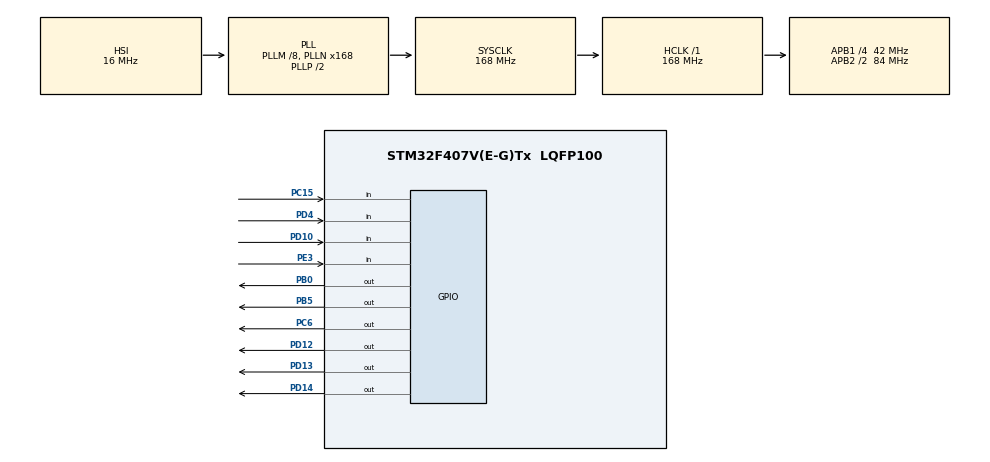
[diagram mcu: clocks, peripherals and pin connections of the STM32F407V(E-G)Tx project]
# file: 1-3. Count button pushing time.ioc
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Mcu.Family=STM32F4
Mcu.Name=STM32F407V(E-G)Tx
Mcu.Package=LQFP100
NVIC.PriorityGroup=NVIC_PRIORITYGROUP_4
NVIC.TIM6_DAC_IRQn=true\:0\:0\:false\:true\:true\:1\:true\:true\:true
PB0.Signal=GPIO_Output
PB5.Signal=GPIO_Output
PC15-OSC32_OUT.Signal=GPIO_Input
PC6.Signal=GPIO_Output
PD10.Signal=GPIO_Input
PD12.Signal=GPIO_Output
PD13.Signal=GPIO_Output
PD14.Signal=GPIO_Output
PD4.Signal=GPIO_Input
PE3.Signal=GPIO_Input
PH0-OSC_IN.Mode=HSE-External-Oscillator
PH0-OSC_IN.Signal=RCC_OSC_IN
PH1-OSC_OUT.Mode=HSE-External-Oscillator
PH1-OSC_OUT.Signal=RCC_OSC_OUT
ProjectManager.HeapSize=0x200
ProjectManager.StackSize=0x400
ProjectManager.TargetToolchain=STM32CubeIDE
RCC.48MHZClocksFreq_Value=84000000
RCC.AHBFreq_Value=168000000
RCC.APB1CLKDivider=RCC_HCLK_DIV4
RCC.APB1Freq_Value=42000000
RCC.APB1TimFreq_Value=84000000
RCC.APB2CLKDivider=RCC_HCLK_DIV2
RCC.APB2Freq_Value=84000000
RCC.APB2TimFreq_Value=168000000
RCC.CortexFreq_Value=168000000
RCC.HCLKFreq_Value=168000000
RCC.HSE_VALUE=8000000
RCC.HSI_VALUE=16000000
RCC.LSE_VALUE=32768
RCC.PLLM=8
RCC.PLLN=168
RCC.SYSCLKFreq_VALUE=168000000
RCC.SYSCLKSource=RCC_SYSCLKSOURCE_PLLCLK
RCC.VCOOutputFreq_Value=336000000
TIM6.Period=839
TIM6.Prescaler=99
VP_TIM6_VS_ClockSourceINT.Mode=Enable_Timer
board=custom

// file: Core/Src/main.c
/* USER CODE BEGIN Header */
/**
  ******************************************************************************
  * @file           : main.c
  * @brief          : Main program body
  ******************************************************************************
  * @attention
  *
  * Copyright (c) 2024 STMicroelectronics.
  * All rights reserved.
  *
  * This software is licensed under terms that can be found in the LICENSE file
  * in the root directory of this software component.
  * If no LICENSE file comes with this software, it is provided AS-IS.
  *
  ******************************************************************************
  */
/* USER CODE END Header */
#include "main.h"
#include "tim.h"
#include "gpio.h"

/* USER CODE BEGIN Includes */
#include "easyMacros.h"
#include "7SEG.h"
/* USER CODE END Includes */

/* USER CODE BEGIN PD */
#define TRUE 1
#define FALSE 0
/* USER CODE END PD */

/* USER CODE BEGIN PV */
int SW1_pressed = FALSE;

int show_point = OFF;
int tim6_reset = FALSE;
static unsigned int tim6_1ms = 0;
static unsigned int tim6_100ms = 0;
/* USER CODE END PV */

void SystemClock_Config(void);
static void MX_NVIC_Init(void);

int main(void)
{

  /* MCU Configuration--------------------------------------------------------*/

  /* Reset of all peripherals, Initializes the Flash interface and the Systick. */
  HAL_Init();

  /* Configure the system clock */
  SystemClock_Config();

  /* Initialize all configured peripherals */
  MX_GPIO_Init();
  MX_TIM6_Init();

  /* Initialize interrupts */
  MX_NVIC_Init();
  /* USER CODE BEGIN 2 */
  L_RED_LED_OFF();
  L_GREEN_LED_OFF();
  L_BLUE_LED_OFF();
  R_RED_LED_OFF();
  R_GREEN_LED_OFF();
  R_BLUE_LED_OFF();

  HAL_TIM_Base_Start_IT(&htim6);
  _7SEG_GPIO_Init();
  /* USER CODE END 2 */

  /* Infinite loop */
  while (1)
  {

    /* USER CODE BEGIN 3 */
	/*
	 * Button을 누르면 왼쪽, 오른쪽 LED가 순서대로 토글되는 코드
	 * 챌린지 1-1이랑 기능과 코드는 동일하므로 설명은 생략하였습니다.
	 */
	if(SW1_pressed != CHECK_SW1_PRESSING())
	{
		SW1_pressed = !SW1_pressed;

		if(SW1_pressed)
		{
			L_RED_LED_TOGGLE();
		}
		else
		{
			R_RED_LED_TOGGLE();
			tim6_reset = TRUE; // 버튼을 땔때, 다음에 시간 측정할 때 처음부터 할 수 있도록 초기화를 예약해놓는다.
		}
	}

	/*
	 * 7_SEG 표시 코드
	 * timer6 카운트 증감은 tim6 인터럽트에서 처리하고,
	 * 여기서는 7seg에 시간을 표시하는 코드만 작성하였습니다.
	 */

	if(tim6_100ms % 10 < 5) show_point = ON; // .0 ~ .4초 사이에는 점을 표시한다.
	else show_point = OFF; // .5 ~ .9초 사이에는 점을 표시하지 않는다.

	_7SEG_SetNumber(DGT1, tim6_100ms / 10, show_point); // 시간 정보와 점 표시 여부를 7SEG로 보낸다.
	_7SEG_SetNumber(DGT2, tim6_100ms % 10, OFF); // 시간 정보와 점 표시 여부를 7SEG로 보낸다.
  }
  /* USER CODE END 3 */
}

void SystemClock_Config(void)
{
  RCC_OscInitTypeDef RCC_OscInitStruct = {0};
  RCC_ClkInitTypeDef RCC_ClkInitStruct = {0};

  /** Configure the main internal regulator output voltage
  */
  __HAL_RCC_PWR_CLK_ENABLE();
  __HAL_PWR_VOLTAGESCALING_CONFIG(PWR_REGULATOR_VOLTAGE_SCALE1);

  /** Initializes the RCC Oscillators according to the specified parameters
  * in the RCC_OscInitTypeDef structure.
  */
  RCC_OscInitStruct.OscillatorType = RCC_OSCILLATORTYPE_HSI;
  RCC_OscInitStruct.HSIState = RCC_HSI_ON;
  RCC_OscInitStruct.HSICalibrationValue = RCC_HSICALIBRATION_DEFAULT;
  RCC_OscInitStruct.PLL.PLLState = RCC_PLL_ON;
  RCC_OscInitStruct.PLL.PLLSource = RCC_PLLSOURCE_HSI;
  RCC_OscInitStruct.PLL.PLLM = 8;
  RCC_OscInitStruct.PLL.PLLN = 168;
  RCC_OscInitStruct.PLL.PLLP = RCC_PLLP_DIV2;
  RCC_OscInitStruct.PLL.PLLQ = 4;
  if (HAL_RCC_OscConfig(&RCC_OscInitStruct) != HAL_OK)
  {
    Error_Handler();
  }

  /** Initializes the CPU, AHB and APB buses clocks
  */
  RCC_ClkInitStruct.ClockType = RCC_CLOCKTYPE_HCLK|RCC_CLOCKTYPE_SYSCLK
                              |RCC_CLOCKTYPE_PCLK1|RCC_CLOCKTYPE_PCLK2;
  RCC_ClkInitStruct.SYSCLKSource = RCC_SYSCLKSOURCE_PLLCLK;
  RCC_ClkInitStruct.AHBCLKDivider = RCC_SYSCLK_DIV1;
  RCC_ClkInitStruct.APB1CLKDivider = RCC_HCLK_DIV4;
  RCC_ClkInitStruct.APB2CLKDivider = RCC_HCLK_DIV2;

  if (HAL_RCC_ClockConfig(&RCC_ClkInitStruct, FLASH_LATENCY_5) != HAL_OK)
  {
    Error_Handler();
  }
}

/**
  * @brief NVIC Configuration.
  * @retval None
  */
static void MX_NVIC_Init(void)
{
  /* TIM6_DAC_IRQn interrupt configuration */
  HAL_NVIC_SetPriority(TIM6_DAC_IRQn, 0, 0);
  HAL_NVIC_EnableIRQ(TIM6_DAC_IRQn);
}

/* USER CODE BEGIN 4 */
void HAL_TIM_PeriodElapsedCallback(TIM_HandleTypeDef *htim)
{
	if(htim->Instance == TIM6)
	{
		if(SW1_pressed)
		{
			if(tim6_reset) // 타이머를 새롭게 시작할 떄
			{
				tim6_1ms = 0; // 모든 시간을 0으로 초기화 해준다.
				tim6_100ms = 0;
				tim6_reset = FALSE; // 초기화는 한 번만 진행하므로, 변수를 FALSE로 설정한다.
			}

			tim6_1ms++;
			if(tim6_1ms == 100)
			{
				tim6_1ms = 0;
				tim6_100ms++;
			}
		}
	}
}
/* USER CODE END 4 */

void Error_Handler(void)
{
  __disable_irq();
  while (1)
  {
  }
}
